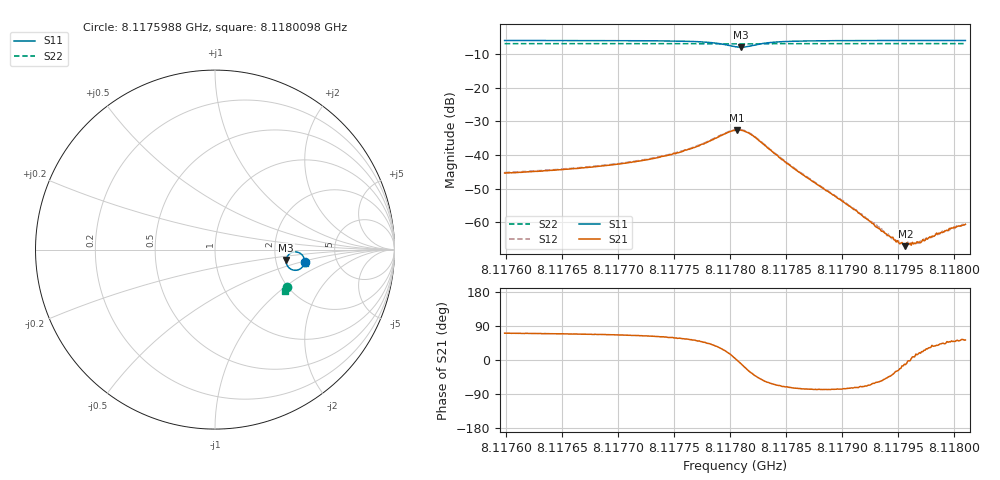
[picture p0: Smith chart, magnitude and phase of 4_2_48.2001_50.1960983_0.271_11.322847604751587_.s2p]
#  HZ  S  RI  R  50.00
! Rohde & Schwarz Vector Network Analyzer
! Rohde-Schwarz,ZNB20-2Port,1311601062101988,3.16
! Created: UTC 3/20/2024, 11:36:09 AM
! freq[Hz]  re:S11  im:S11  re:S21  im:S21  re:S12  im:S12  re:S22  im:S22
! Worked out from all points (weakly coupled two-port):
!   401 points, 8.1175988 GHz to 8.1180098 GHz, reference 50 ohm
!   highest |S21| = -32.58 dB at 8.1178064 GHz (marker M1); lowest = -67.1 dB at 8.1179564 GHz (marker M2)
!   lowest |S11| = -7.9 dB at 8.1178094 GHz (marker M3), VSWR 2.34, Z = 114 - j15.8 ohm
!   |S11| at or under -10 dB: nowhere
!   |S22| runs from -7.0 to -6.9 dB; largest |S21 - S12| = 0.00063
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8.11759877e9  0.5004 -0.0674  0.00178 0.00509  0.00187 0.00517  0.4016 -0.2085
8.11766762e9  0.4978 -0.077  0.0024 0.00597  0.00244 0.00602  0.3994 -0.2129
8.11770565e9  0.4948 -0.0846  0.0031 0.00684  0.00322 0.00697  0.398 -0.2156
8.11773648e9  0.4897 -0.0935  0.00435 0.0081  0.00451 0.00818  0.3967 -0.2179
8.11775292e9  0.4841 -0.1  0.00587 0.00903  0.00589 0.00929  0.3959 -0.219
8.11777039e9  0.4725 -0.1089  0.00845 0.0104  0.00864 0.0105  0.3948 -0.2202
8.11779198e9  0.4339 -0.1136  0.0168 0.00979  0.0173 0.00987  0.3923 -0.2214
8.11780431e9  0.3998 -0.0832  0.023 0.00176  0.0236 0.00173  0.3908 -0.2202
8.11780636e9  0.3969 -0.0736  0.0235 -0.000337  0.0239 -0.000452  0.3907 -0.2199
8.11780945e9  0.3964 -0.058  0.0231 -0.00378  0.0235 -0.00394  0.3908 -0.2194
8.11782075e9  0.4275 -0.0168  0.015 -0.0119  0.0151 -0.0121  0.3923 -0.2183
8.11784131e9  0.4783 -0.023  0.00403 -0.00917  0.00412 -0.0093  0.394 -0.2206
8.11787316e9  0.4956 -0.0463  0.000908 -0.00396  0.000859 -0.00407  0.3936 -0.2237
8.11791119e9  0.4991 -0.0601  0.000468 -0.00146  0.000421 -0.00148  0.3923 -0.2267
8.11793277e9  0.4994 -0.0652  0.000429 -0.000675  0.000469 -0.000706  0.3915 -0.2283
8.11794202e9  0.4994 -0.0671  0.000452 -0.000427  0.000421 -0.000432  0.3913 -0.2288
8.11795024e9  0.4995 -0.0686  0.000442 -0.000226  0.000468 -0.000218  0.391 -0.2295
8.11795641e9  0.4995 -0.0698  0.000431 -9.37e-05  0.00043 -8.64e-05  0.3908 -0.2298
8.11796668e9  0.4994 -0.0714  0.000496 0.000122  0.000462 8.76e-05  0.3905 -0.2304
8.11797285e9  0.4994 -0.0725  0.000476 0.000227  0.000494 0.000253  0.3903 -0.2309
8.11799752e9  0.4992 -0.0758  0.000523 0.000629  0.000558 0.000603  0.3893 -0.2324
8.11800985e9  0.499 -0.0774  0.000562 0.000738  0.000592 0.000769  0.3889 -0.2333
